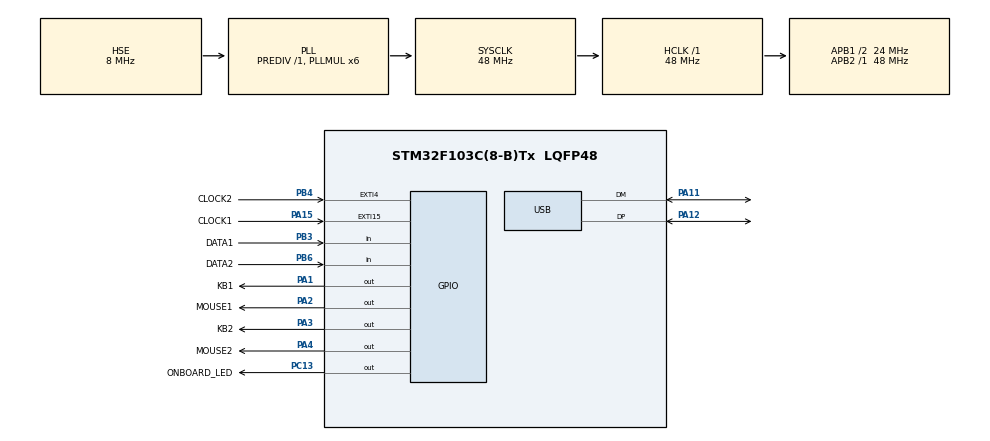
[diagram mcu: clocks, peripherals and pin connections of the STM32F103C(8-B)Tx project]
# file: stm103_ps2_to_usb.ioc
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Mcu.Family=STM32F1
Mcu.Name=STM32F103C(8-B)Tx
Mcu.Package=LQFP48
NVIC.EXTI15_10_IRQn=true\:0\:0\:false\:false\:true\:true\:true
NVIC.EXTI4_IRQn=true\:0\:0\:false\:false\:true\:true\:true
NVIC.PriorityGroup=NVIC_PRIORITYGROUP_4
NVIC.USB_LP_CAN1_RX0_IRQn=true\:1\:0\:true\:false\:true\:true\:true
PA1.GPIO_Label=KB1
PA1.Signal=GPIO_Output
PA11.Mode=Device
PA11.Signal=USB_DM
PA12.Mode=Device
PA12.Signal=USB_DP
PA13.Mode=Serial_Wire
PA13.Signal=SYS_JTMS-SWDIO
PA14.Mode=Serial_Wire
PA14.Signal=SYS_JTCK-SWCLK
PA15.GPIO_Label=CLOCK1
PA15.GPIO_ModeDefaultEXTI=GPIO_MODE_IT_RISING_FALLING
PA15.Signal=GPXTI15
PA2.GPIO_Label=MOUSE1
PA2.Signal=GPIO_Output
PA3.GPIO_Label=KB2
PA3.Signal=GPIO_Output
PA4.GPIO_Label=MOUSE2
PA4.Signal=GPIO_Output
PB3.GPIO_Label=DATA1
PB3.Signal=GPIO_Input
PB4.GPIO_Label=CLOCK2
PB4.GPIO_ModeDefaultEXTI=GPIO_MODE_IT_RISING_FALLING
PB4.Signal=GPXTI4
PB6.GPIO_Label=DATA2
PB6.Signal=GPIO_Input
PC13-TAMPER-RTC.GPIO_Label=ONBOARD_LED
PC13-TAMPER-RTC.Signal=GPIO_Output
PD0-OSC_IN.Mode=HSE-External-Oscillator
PD0-OSC_IN.Signal=RCC_OSC_IN
PD1-OSC_OUT.Mode=HSE-External-Oscillator
PD1-OSC_OUT.Signal=RCC_OSC_OUT
ProjectManager.HeapSize=0x200
ProjectManager.StackSize=0x400
ProjectManager.TargetToolchain=STM32CubeIDE
RCC.AHBFreq_Value=48000000
RCC.APB1CLKDivider=RCC_HCLK_DIV2
RCC.APB1Freq_Value=24000000
RCC.APB1TimFreq_Value=48000000
RCC.APB2Freq_Value=48000000
RCC.APB2TimFreq_Value=48000000
RCC.HCLKFreq_Value=48000000
RCC.PLLMUL=RCC_PLL_MUL6
RCC.RTCClockSelection=RCC_RTCCLKSOURCE_HSE_DIV128
RCC.SYSCLKFreq_VALUE=48000000
RCC.SYSCLKSource=RCC_SYSCLKSOURCE_PLLCLK
RCC.USBFreq_Value=48000000
USB_DEVICE.CLASS_NAME_FS=HID
USB_DEVICE.PID_HID_FS=0x572b
USB_DEVICE.USBD_MAX_NUM_INTERFACES=2
USB_DEVICE.USBD_MAX_STR_DESC_SIZ=128
USB_DEVICE.USBD_SELF_POWERED=0
USB_DEVICE.VID=0x483
USB_DEVICE.VirtualMode=Hid
USB_DEVICE.VirtualModeFS=Hid_FS
VP_USB_DEVICE_VS_USB_DEVICE_HID_FS.Mode=HID_FS
board=stm103_template

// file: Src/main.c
/* USER CODE BEGIN Header */
/**
  ******************************************************************************
  * @file           : main.c
  * @brief          : Main program body
  ******************************************************************************
  * @attention
  *
  * <h2><center>&copy; Copyright (c) 2021 STMicroelectronics.
  * All rights reserved.</center></h2>
  *
  * This software component is licensed by ST under BSD 3-Clause license,
  * the "License"; You may not use this file except in compliance with the
  * License. You may obtain a copy of the License at:
  *                        opensource.org/licenses/BSD-3-Clause
  *
  ******************************************************************************
  */
/* USER CODE END Header */
#include "main.h"
#include "usb_device.h"

/* USER CODE BEGIN Includes */
#include "usbd_hid.h"
extern USBD_HandleTypeDef hUsbDeviceFS;

/* USER CODE END Includes */

/* USER CODE BEGIN PD */
/**
  * @brief  PS2 Device scan codes to USB key codes mapping
  */
static const uint8_t regularScanCodesToUSBKeyCodes[] = {
    1, /* Overrun Error  */
    66, /* F9  */
    0, /* Padding */
    62, /* F5  */
    60, /* F3  */
    58, /* F1  */
    59, /* F2  */
    69, /* F12  */
    0, /* Padding */
    67, /* F10  */
    65, /* F8  */
    63, /* F6  */
    61, /* F4  */
    43, /* Tab  */
    53, /* ` ~  */
    0, /* Padding */
    0, /* Padding */
    0, /* Padding */
    0, /* Padding */
    0, /* Padding */
    0, /* Padding */
    20, /* q Q  */
    30, /* 1 !  */
    0, /* Padding */
    0, /* Padding */
    0, /* Padding */
    29, /* z Z  */
    22, /* s S  */
    4, /* a A  */
    26, /* w W  */
    31, /* 2 @  */
    0, /* Padding */
    0, /* Padding */
    6, /* c C  */
    27, /* x X  */
    7, /* d D  */
    8, /* e E  */
    33, /* 4 $  */
    32, /* 3 #  */
    0, /* Padding */
    0, /* Padding */
    44, /* Space  */
    25, /* v V  */
    9, /* f F  */
    23, /* t T  */
    21, /* r R  */
    34, /* 5 %  */
    0, /* Padding */
    0, /* Padding */
    17, /* n N  */
    5, /* b B  */
    11, /* h H  */
    10, /* g G  */
    28, /* y Y  */
    35, /* 6 ^  */
    0, /* Padding */
    0, /* Padding */
    0, /* Padding */
    16, /* m M  */
    13, /* j J  */
    24, /* u U  */
    36, /* 7 &  */
    37, /* 8 *  */
    0, /* Padding */
    0, /* Padding */
    54, /* , <  */
    14, /* k K  */
    12, /* i I  */
    18, /* o O  */
    39, /* 0 )  */
    38, /* 9 (  */
    0, /* Padding */
    0, /* Padding */
    55, /* . >  */
    56, /* / ?  */
    15, /* l L  */
    51, /* ; :  */
    19, /* p P  */
    45, /* - _  */
    0, /* Padding */
    0, /* Padding */
    0, /* Padding */
    52, /* ' "  */
    0, /* Padding */
    47, /* [ {  */
    46, /* '= + */
    0, /* Padding */
    0, /* Padding */
    57, /* Caps Lock  */
    0, /* Padding */
    40, /* Return  */
    48, /* ] }  */
    0, /* Padding */
    49, /* \ |  */
    0, /* Padding */
    0, /* Padding */
    0, /* Padding */
    100, /* Europe 2 (Note 2)  */
    0, /* Padding */
    0, /* Padding */
    0, /* Padding */
    0, /* Padding */
    42, /* Backspace  */
    0, /* Padding */
    0, /* Padding */
    89, /* Keypad 1 End  */
    0, /* Padding */
    92, /* Keypad 4 Left  */
    95, /* Keypad 7 Home  */
    0, /* Padding */
    0, /* Padding */
    0, /* Padding */
    98, /* Keypad 0 Insert  */
    99, /* Keypad . Delete  */
    90, /* Keypad 2 Down  */
    93, /* Keypad 5  */
    94, /* Keypad 6 Right  */
    96, /* Keypad 8 Up  */
    41, /* Escape  */
    83, /* Num Lock  */
    68, /* F11  */
    87, /* Keypad +  */
    91, /* Keypad 3 PageDn  */
    86, /* Keypad -  */
    85, /* Keypad *  */
    97, /* Keypad 9 PageUp  */
    71, /* Scroll Lock */
    0, /* Padding */
    0, /* Padding */
    0, /* Padding */
    0, /* Padding */
    64, /* F7  */
};

#define PS2_EXTENDED_KEY_ON 0x100
#define PS2_EXTENDED_E1_KEY_ON 0x200
#define PS2_EXTENDED_14_KEY_ON 0x400

#define PS2_EXTENDED_KEY_OFFSET 361
static const uint8_t extendedScanCodesToUSBKeyCodes[] = {
    77, /* End (Note 1)  */
    0, /* Padding */
    80, /* Left Arrow (Note 1)  */
    74, /* Home (Note 1)  */
    0, /* Padding */
    0, /* Padding */
    0, /* Padding */
    73, /* Insert (Note 1)  */
    76, /* Delete (Note 1)  */
    81, /* Down Arrow (Note 1)  */
    0, /* Padding */
    79, /* Right Arrow (Note 1)  */
    82, /* Up Arrow (Note 1)  */
    0, /* Padding */
    0, /* Padding */
    0, /* Padding */
    0, /* Padding */
    78, /* Page Down (Note 1)  */
    0, /* Padding */
    70, /* Print Screen (Note 1) */
    75, /* Page Up (Note 1)  */
};

/* USER CODE END PD */

/* USER CODE BEGIN PV */
PS2_HandleTypeDef ps2_1;
PS2_HandleTypeDef ps2_2;
USBD_HID_COMPOSITE_HandleTypeDef hhids[2];
/* USER CODE END PV */

void SystemClock_Config(void);
static void MX_GPIO_Init(void);
/* USER CODE BEGIN PFP */
static void processDeviceEvent(PS2_HandleTypeDef *dev);
/* USER CODE END PFP */

int main(void)
{
  /* USER CODE BEGIN 1 */
  uint32_t toggleStart;
//  uint8_t kbLeds1 = 4;
//  uint8_t kbLeds2 = 2;
    /* Initialize pUserData tobe sure that initialization is done in proper order */
    hUsbDeviceFS.pUserData = NULL;

  /* USER CODE END 1 */

  /* MCU Configuration--------------------------------------------------------*/

  /* Reset of all peripherals, Initializes the Flash interface and the Systick. */
  HAL_Init();

  /* Configure the system clock */
  SystemClock_Config();

  /* USER CODE BEGIN SysInit */
    /* Enable microseconds delay via DWT */
    /* Disable TRC */
    CoreDebug->DEMCR &= ~CoreDebug_DEMCR_TRCENA_Msk; // ~0x01000000;
    /* Enable TRC */
    CoreDebug->DEMCR |=  CoreDebug_DEMCR_TRCENA_Msk; // 0x01000000;
    /* Disable clock cycle counter */
    DWT->CTRL &= ~DWT_CTRL_CYCCNTENA_Msk; //~0x00000001;
    /* Enable  clock cycle counter */
    DWT->CTRL |=  DWT_CTRL_CYCCNTENA_Msk; //0x00000001;
    /* Reset the clock cycle counter value */
    DWT->CYCCNT = 0;
    /* 3 NO OPERATION instructions */
    __ASM volatile ("NOP");
    __ASM volatile ("NOP");
    __ASM volatile ("NOP");

  /* USER CODE END SysInit */

  /* Initialize all configured peripherals */
  MX_GPIO_Init();
  MX_USB_DEVICE_Init();
  /* USER CODE BEGIN 2 */
  toggleStart = HAL_GetTick();
  /* USER CODE END 2 */

  /* Infinite loop */
  while (1)
  {

    /* USER CODE BEGIN 3 */
    if (HAL_GetTick() - toggleStart > 500) {
        HAL_GPIO_TogglePin(ONBOARD_LED_GPIO_Port, ONBOARD_LED_Pin);
        toggleStart += 500;
    }
//    animateKeyboard(&ps2_1, &kbLeds1);
//    animateKeyboard(&ps2_2, &kbLeds2);
    processDeviceEvent(&ps2_1);
    processDeviceEvent(&ps2_2);
  }
  /* USER CODE END 3 */
}

void SystemClock_Config(void)
{
  RCC_OscInitTypeDef RCC_OscInitStruct = {0};
  RCC_ClkInitTypeDef RCC_ClkInitStruct = {0};
  RCC_PeriphCLKInitTypeDef PeriphClkInit = {0};

  /** Initializes the RCC Oscillators according to the specified parameters
  * in the RCC_OscInitTypeDef structure.
  */
  RCC_OscInitStruct.OscillatorType = RCC_OSCILLATORTYPE_HSE;
  RCC_OscInitStruct.HSEState = RCC_HSE_ON;
  RCC_OscInitStruct.HSEPredivValue = RCC_HSE_PREDIV_DIV1;
  RCC_OscInitStruct.HSIState = RCC_HSI_ON;
  RCC_OscInitStruct.PLL.PLLState = RCC_PLL_ON;
  RCC_OscInitStruct.PLL.PLLSource = RCC_PLLSOURCE_HSE;
  RCC_OscInitStruct.PLL.PLLMUL = RCC_PLL_MUL6;
  if (HAL_RCC_OscConfig(&RCC_OscInitStruct) != HAL_OK)
  {
    Error_Handler();
  }
  /** Initializes the CPU, AHB and APB buses clocks
  */
  RCC_ClkInitStruct.ClockType = RCC_CLOCKTYPE_HCLK|RCC_CLOCKTYPE_SYSCLK
                              |RCC_CLOCKTYPE_PCLK1|RCC_CLOCKTYPE_PCLK2;
  RCC_ClkInitStruct.SYSCLKSource = RCC_SYSCLKSOURCE_PLLCLK;
  RCC_ClkInitStruct.AHBCLKDivider = RCC_SYSCLK_DIV1;
  RCC_ClkInitStruct.APB1CLKDivider = RCC_HCLK_DIV2;
  RCC_ClkInitStruct.APB2CLKDivider = RCC_HCLK_DIV1;

  if (HAL_RCC_ClockConfig(&RCC_ClkInitStruct, FLASH_LATENCY_1) != HAL_OK)
  {
    Error_Handler();
  }
  PeriphClkInit.PeriphClockSelection = RCC_PERIPHCLK_USB;
  PeriphClkInit.UsbClockSelection = RCC_USBCLKSOURCE_PLL;
  if (HAL_RCCEx_PeriphCLKConfig(&PeriphClkInit) != HAL_OK)
  {
    Error_Handler();
  }
}

static void MX_GPIO_Init(void)
{
  GPIO_InitTypeDef GPIO_InitStruct = {0};

  /* GPIO Ports Clock Enable */
  __HAL_RCC_GPIOC_CLK_ENABLE();
  __HAL_RCC_GPIOD_CLK_ENABLE();
  __HAL_RCC_GPIOA_CLK_ENABLE();
  __HAL_RCC_GPIOB_CLK_ENABLE();

  /*Configure GPIO pin Output Level */
  HAL_GPIO_WritePin(ONBOARD_LED_GPIO_Port, ONBOARD_LED_Pin, GPIO_PIN_RESET);

  /*Configure GPIO pin Output Level */
  HAL_GPIO_WritePin(GPIOA, KB1_Pin|MOUSE1_Pin|KB2_Pin|MOUSE2_Pin, GPIO_PIN_RESET);

  /*Configure GPIO pin : ONBOARD_LED_Pin */
  GPIO_InitStruct.Pin = ONBOARD_LED_Pin;
  GPIO_InitStruct.Mode = GPIO_MODE_OUTPUT_PP;
  GPIO_InitStruct.Pull = GPIO_NOPULL;
  GPIO_InitStruct.Speed = GPIO_SPEED_FREQ_LOW;
  HAL_GPIO_Init(ONBOARD_LED_GPIO_Port, &GPIO_InitStruct);

  /*Configure GPIO pins : KB1_Pin MOUSE1_Pin KB2_Pin MOUSE2_Pin */
  GPIO_InitStruct.Pin = KB1_Pin|MOUSE1_Pin|KB2_Pin|MOUSE2_Pin;
  GPIO_InitStruct.Mode = GPIO_MODE_OUTPUT_PP;
  GPIO_InitStruct.Pull = GPIO_NOPULL;
  GPIO_InitStruct.Speed = GPIO_SPEED_FREQ_LOW;
  HAL_GPIO_Init(GPIOA, &GPIO_InitStruct);

  /*Configure GPIO pin : CLOCK1_Pin */
  GPIO_InitStruct.Pin = CLOCK1_Pin;
  GPIO_InitStruct.Mode = GPIO_MODE_IT_RISING_FALLING;
  GPIO_InitStruct.Pull = GPIO_NOPULL;
  HAL_GPIO_Init(CLOCK1_GPIO_Port, &GPIO_InitStruct);

  /*Configure GPIO pins : DATA1_Pin DATA2_Pin */
  GPIO_InitStruct.Pin = DATA1_Pin|DATA2_Pin;
  GPIO_InitStruct.Mode = GPIO_MODE_INPUT;
  GPIO_InitStruct.Pull = GPIO_NOPULL;
  HAL_GPIO_Init(GPIOB, &GPIO_InitStruct);

  /*Configure GPIO pin : CLOCK2_Pin */
  GPIO_InitStruct.Pin = CLOCK2_Pin;
  GPIO_InitStruct.Mode = GPIO_MODE_IT_RISING_FALLING;
  GPIO_InitStruct.Pull = GPIO_NOPULL;
  HAL_GPIO_Init(CLOCK2_GPIO_Port, &GPIO_InitStruct);

  /* EXTI interrupt init*/
  HAL_NVIC_SetPriority(EXTI4_IRQn, 0, 0);
  HAL_NVIC_EnableIRQ(EXTI4_IRQn);

  HAL_NVIC_SetPriority(EXTI15_10_IRQn, 0, 0);
  HAL_NVIC_EnableIRQ(EXTI15_10_IRQn);

}

/* USER CODE BEGIN 4 */
/**
  * @brief GPIO Open drain default high
  * @param None
  * @retval None
  */
void PS2_PINS_Output_OD_High(void)
{
  GPIO_InitTypeDef GPIO_InitStruct = {0};

  /*Configure GPIO pin Output Level */
  HAL_GPIO_WritePin(CLOCK1_GPIO_Port, CLOCK1_Pin, GPIO_PIN_SET);
  HAL_GPIO_WritePin(DATA1_GPIO_Port, DATA1_Pin, GPIO_PIN_SET);
  HAL_GPIO_WritePin(CLOCK2_GPIO_Port, CLOCK2_Pin, GPIO_PIN_SET);
  HAL_GPIO_WritePin(DATA2_GPIO_Port, DATA2_Pin, GPIO_PIN_SET);

  /*Configure GPIO pin : CLOCK1_Pin */
  GPIO_InitStruct.Pin = CLOCK1_Pin;
  GPIO_InitStruct.Mode = GPIO_MODE_OUTPUT_OD;
  GPIO_InitStruct.Pull = GPIO_NOPULL;
  GPIO_InitStruct.Speed = GPIO_SPEED_FREQ_LOW;
  HAL_GPIO_Init(CLOCK1_GPIO_Port, &GPIO_InitStruct);

  /*Configure GPIO pin : DATA1_Pin, CLOCK2_Pin, DATA2_Pin */
  GPIO_InitStruct.Pin = DATA1_Pin | CLOCK2_Pin | DATA2_Pin;
  HAL_GPIO_Init(GPIOB, &GPIO_InitStruct);

}

/**
  * @brief Initialize PS/2 handlers for the board
  * @param None
  * @retval None
  */
void BSP_PS2_Init(void)
{
    /* Wait for completion of PS/2 devices self tests */
    HAL_Delay(500);
    PS2_InterfaceMap[0] = NULL;
    PS2_InterfaceMap[1] = NULL;
    hUsbDeviceFS.pUserData = PS2_InterfaceMap;

    /* Probe PS/2 devices */
    ps2_1.clockPort = CLOCK1_GPIO_Port;
    ps2_1.clockPin = CLOCK1_Pin;
    ps2_1.dataPort = DATA1_GPIO_Port;
    ps2_1.dataPin = DATA1_Pin;
    ps2_1.KBLedPort = KB1_GPIO_Port;
    ps2_1.KBLedPin = KB1_Pin;
    ps2_1.MouseLedPort = MOUSE1_GPIO_Port;
    ps2_1.MouseLedPin = MOUSE1_Pin;
    PS2_initHandle(&ps2_1);
    ps2_1.pUserData = hhids+0;
    hhids[0].state = HID_COMPOSITE_IDLE;

    ps2_2.clockPort = CLOCK2_GPIO_Port;
    ps2_2.clockPin = CLOCK2_Pin;
    ps2_2.dataPort = DATA2_GPIO_Port;
    ps2_2.dataPin = DATA2_Pin;
    ps2_2.KBLedPort = KB2_GPIO_Port;
    ps2_2.KBLedPin = KB2_Pin;
    ps2_2.MouseLedPort = MOUSE2_GPIO_Port;
    ps2_2.MouseLedPin = MOUSE2_Pin;
    PS2_initHandle(&ps2_2);
    ps2_2.pUserData = hhids+1;
    hhids[1].state = HID_COMPOSITE_IDLE;
}

/**
  * @brief  EXTI line detection callbacks.
  * @param  GPIO_Pin: Specifies the pins connected EXTI line
  * @retval None
  */
void HAL_GPIO_EXTI_Callback(uint16_t GPIO_Pin)
{
  switch(GPIO_Pin) {
  case CLOCK1_Pin:
    /* First PS/2 port */
    PS2_ProcessData(&ps2_1);
    break;
  case CLOCK2_Pin:
    /* Second PS/2 port */
    PS2_ProcessData(&ps2_2);
    break;
  }
}

static void updateBit(uint8_t *byte, uint8_t position, uint8_t value)
{
    if (value) {
        *byte |= (1<<position);
    } else {
        *byte &= ~(1<<position);
    }
}

uint8_t addKeyToReport(PS2_HandleTypeDef *dev, uint8_t keyCode)
{
    int i;
    if (2+dev->state.keyboard.nbKeyPressed < sizeof dev->state.keyboard.report) {
        /* Add keyCode to report */
        dev->state.keyboard.report[2+(dev->state.keyboard.nbKeyPressed++)] = keyCode;
        return 0; /* OK */
    } else {
        for (i=2; i<sizeof dev->state.keyboard.report; i++) {
            dev->state.keyboard.report[i] = 1;
        }
        return 1; /* Phantom state */
    }
}

static uint8_t processNextMouseMovementAxis(uint8_t movement, uint8_t sign)
{
    movement >>= 1;
    if (sign) {
        /* Reltaive movement is negative */
        movement |= 0x80;
    }

    return movement;
}

static void processDeviceEvent(PS2_HandleTypeDef *dev)
{
    int16_t data;
    uint8_t keyCode;
    uint8_t eventReceived = 0;
    int i,j;
    uint8_t phantomState;
    int16_t movement;

    USBD_HID_COMPOSITE_HandleTypeDef *hhid = dev->pUserData;
    uint32_t period = (hhid->IdleState & 0xF0) >> 6;
    uint32_t currentTick;

    switch (dev->connectedDevice) {
    case PS2_KEYBOARD:
        while ((data = PS2_DrawByteFormFIFOBuffer(dev)) != -1) {
            data += dev->state.keyboard.extendedE1Key;
            switch (data) {
            case 0xE0: /* Extended key */
                dev->state.keyboard.extendedKey = PS2_EXTENDED_KEY_ON;
                break;
            case 0xE1: /* Pause */
                dev->state.keyboard.extendedE1Key = PS2_EXTENDED_E1_KEY_ON;
                break;
            case PS2_EXTENDED_E1_KEY_ON + 0x14: /* second byte of Pause */
                break;
            case 0xF0: /* Break scan code */
            case PS2_EXTENDED_E1_KEY_ON + 0xF0: /* Pseudo break scan code for Pause */
                dev->state.keyboard.breakCode = 1;
                break;
            default:
                data += dev->state.keyboard.extendedKey;
                eventReceived = 1;
                switch (data) {
                case 0x14: /* Left control */
                    updateBit(dev->state.keyboard.report, 0, !dev->state.keyboard.breakCode);
                    break;
                case 0x12: /* Left shift */
                    updateBit(dev->state.keyboard.report, 1, !dev->state.keyboard.breakCode);
                    break;
                case 0x11: /* Left alt */
                    updateBit(dev->state.keyboard.report, 2, !dev->state.keyboard.breakCode);
                    break;
                case PS2_EXTENDED_KEY_ON + 0x1F: /* Left GUI */
                    updateBit(dev->state.keyboard.report, 3, !dev->state.keyboard.breakCode);
                    break;
                case PS2_EXTENDED_KEY_ON + 0x14: /* Right control */
                    updateBit(dev->state.keyboard.report, 4, !dev->state.keyboard.breakCode);
                    break;
                case 0x59: /* Right shift */
                    updateBit(dev->state.keyboard.report, 5, !dev->state.keyboard.breakCode);
                    break;
                case PS2_EXTENDED_KEY_ON + 0x11: /* Right alt */
                    updateBit(dev->state.keyboard.report, 6, !dev->state.keyboard.breakCode);
                    break;
                case PS2_EXTENDED_KEY_ON + 0x27: /* Right GUI */
                    updateBit(dev->state.keyboard.report, 7, !dev->state.keyboard.breakCode);
                    break;
                default:
                    /* Non-modifier keys */
                    if (data < sizeof regularScanCodesToUSBKeyCodes) {
                        /* Regular scan code not beginning with 0xE0 or 0xE1 */
                        keyCode = regularScanCodesToUSBKeyCodes[data];
                    } else {
                        switch (data) {
                        case PS2_EXTENDED_E1_KEY_ON + 0x77:
                            keyCode = 72; /* Pause */
                            break;
                        case 303:
                            keyCode = 101; /* App  */
                            break;
                        case 330:
                            keyCode = 84; /* Keypad / */
                            break;
                        case 346:
                            keyCode = 88; /* Keypad Enter  */
                            break;
                        default:
                            if (data >= PS2_EXTENDED_KEY_OFFSET &&
                                data < PS2_EXTENDED_KEY_OFFSET + sizeof extendedScanCodesToUSBKeyCodes) {
                                    /* Extended scan code beginning with 0xE0 */
                                    keyCode = extendedScanCodesToUSBKeyCodes[data-PS2_EXTENDED_KEY_OFFSET];
                            } else {
                                keyCode = 0;
                            }
                        }
                    }
                    updateBit(dev->state.keyboard.keyPressed + (keyCode >> 3), keyCode & 7, !dev->state.keyboard.breakCode);
                }

                dev->state.keyboard.extendedKey = 0;
                dev->state.keyboard.extendedE1Key = 0;
                dev->state.keyboard.breakCode = 0;
            }
        }
        if (eventReceived || (period && (HAL_GetTick()-dev->tickLastReport) >= period)) {
            // dev->state.keyboard.report[1] = 0 /* Reserved */
            dev->state.keyboard.nbKeyPressed = 0;
            for(i=0; i<sizeof dev->state.keyboard.keyPressed; i++) {
                data = dev->state.keyboard.keyPressed[i];
                if (data) {
                    keyCode = i << 3;
                    for (j=0;j<8;j++) {
                        if (data & 1) {
                            phantomState = addKeyToReport(dev, keyCode+j);
                            if (phantomState) {
                                break;
                            }
                        }
                        data >>= 1;
                    }
                    if (phantomState) {
                        break;
                    }
                }
            }

            /* Pad report with 0 */
            for (i=2+dev->state.keyboard.nbKeyPressed; i<sizeof dev->state.keyboard.report; i++) {
                dev->state.keyboard.report[i] = 0;
            }

            currentTick = HAL_GetTick();
            while(hhid->state != HID_COMPOSITE_IDLE) {
                /* Wait for end of previous report transmission */
                if ((HAL_GetTick() - currentTick) > 10) {
                    break;
                }
            }

            USBD_HID_COMPOSITE_SendReport(&hUsbDeviceFS, hhid, dev->state.keyboard.report, 8);
            dev->tickLastReport = HAL_GetTick();
        }
        break;
    case PS2_MOUSE:
        while ((data = PS2_DrawByteFormFIFOBuffer(dev)) != -1) {
            /* Read a block of data from the mouse */
            /* Sanity control */
            if (!(data & 0x08)) {
                /* Bit 3 should be set in the first byte of a mouse data packet */
                /* This is not the case, so abort flush data and abort process */
                PS2_FIFOBuffer_Flush(dev);
                break;
            }
            /* Process button states
               USB M R L
               PS2 M R L */
            dev->state.mouse.report[0] = (data & 0x07); /* Left button */

            /* Process X movement */
            movement = PS2_WaitForAnswer(dev, 10);
            if (movement == -1) {
                /* Data not received. Abort */
                break;
            }
            dev->state.mouse.report[1] = processNextMouseMovementAxis(movement, data & 0x10);

            /* Process Y movement */
            movement = PS2_WaitForAnswer(dev, 10);
            if (movement == -1) {
                /* Data not received. Abort */
                break;
            }
            dev->state.mouse.report[2] = -(int8_t)processNextMouseMovementAxis(movement, data & 0x20);

            if (dev->state.mouse.haveWheel) {
                /* Process Wheel movement */
                movement = PS2_WaitForAnswer(dev, 10);
                if (movement == -1 || ((movement & 0xF8) != 0x00 && (movement & 0xF8) != 0xF8 )) {
                    /* Data not received or out of range. Abort */
                    PS2_FIFOBuffer_Flush(dev);
                    break;
                }
                dev->state.mouse.report[3] = -(int8_t)movement;
            } else {
                dev->state.mouse.report[3] = 0;
            }
            /* All is fine, we can report the information to the USB host */
            eventReceived = 1;
        }

        if (eventReceived || (period && (HAL_GetTick()-dev->tickLastReport) >= period)) {
            currentTick = HAL_GetTick();
            while(hhid->state != HID_COMPOSITE_IDLE) {
                /* Wait for end of previous report transmission */
                if ((HAL_GetTick() - currentTick) > 10) {
                    break;
                }
            }

            USBD_HID_COMPOSITE_SendReport(&hUsbDeviceFS, hhid, dev->state.mouse.report,
                                          (hhid->Protocol==1)?4:3);
            dev->tickLastReport = HAL_GetTick();
        }

        break;
    default:
        break;
    }
}

void PS2_SetLeds(PS2_HandleTypeDef *dev)
{
    /* Ordre dans LEDRerort : Scroll Lock, Caps Lock, Num Lock */
    uint8_t kbLEDS;
    uint8_t LEDReport = dev->state.keyboard.LEDReport;

    kbLEDS = (LEDReport & 4) >> 2; /* Scroll Lock */
    kbLEDS |= (LEDReport & 2) << 1; /* Caps Lock */
    kbLEDS |= (LEDReport & 1) << 1; /* Num Lock */

    if (PS2_SendByte(dev, 0xed) != PS2_SUCCESS) {
        return;
    }

    PS2_SendByte(dev, kbLEDS);
}

/* USER CODE END 4 */

void Error_Handler(void)
{
  __disable_irq();
  while (1)
  {
  }
}

/************************ (C) COPYRIGHT STMicroelectronics *****END OF FILE****/
